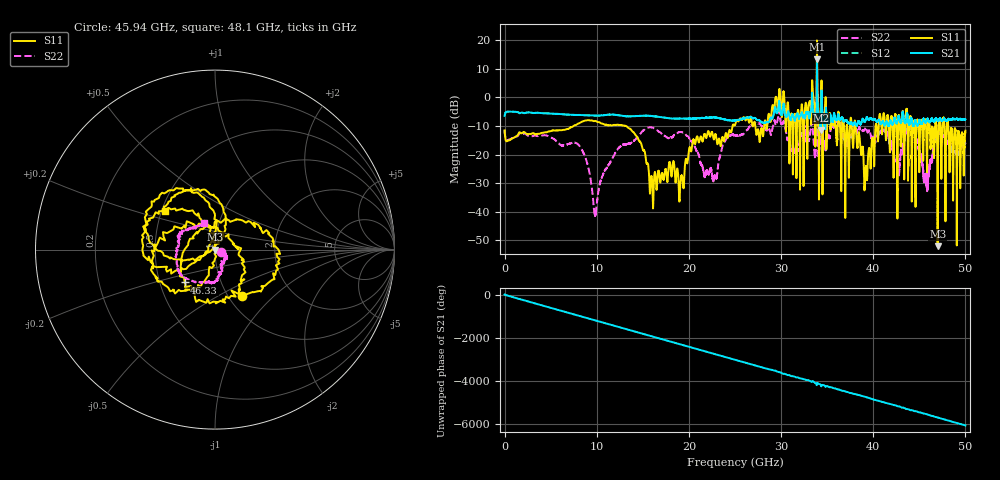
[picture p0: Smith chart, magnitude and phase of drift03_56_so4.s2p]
!Created with skrf (http://scikit-rf.org).
# Hz S RI R 50.0
!freq ReS11 ImS11 ReS21 ImS21 ReS12 ImS12 ReS22 ImS22
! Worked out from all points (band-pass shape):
!   10001 points, 300 kHz to 50 GHz, reference 50 ohm
!   highest |S21| = 13.24 dB at 33.9 GHz (marker M1); lowest = -11.4 dB at 34.32 GHz (marker M2)
!   |S21| within 3 dB of the highest: 33.88967 GHz to 33.90508 GHz (15.41 MHz wide, 0.0455 % of centre)
!   lowest |S11| = -52.0 dB at 46.99 GHz (marker M3), VSWR 1.01, Z = 50.2 + j0.0397 ohm
!   |S11| at or under -10 dB: start of sweep to 7.486 GHz; 13.13 GHz to 24.74 GHz (11.62 GHz wide, 61.4 % of centre); 38.09 GHz to 40.26 GHz (2.164 GHz wide, 5.53 % of centre) (the widest 3 of 46)
!   |S22| runs from -41.4 to 5.7 dB; largest |S21 - S12| = 0.34
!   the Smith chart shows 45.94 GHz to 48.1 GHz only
!   S11 on the Smith chart (normalised r, x): 45.94 GHz: 1.15, -0.66; 46.33 GHz: 0.67, -0.26; 48.1 GHz: 0.52, +0.26
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300000  -0.2341 -0.1216  0.4642 0.0797  0.4639 0.0809  -0.2332 -0.1276
1.440291e9  0.21 0.0648  -0.5479 -0.0297  -0.548 -0.0293  0.2114 -0.00383
2.915283e9  -0.212 -0.0879  0.5338 0.0517  0.5349 0.0515  -0.2022 0.0402
4.415274e9  0.2057 0.1323  -0.5217 -0.0419  -0.522 -0.0423  0.1985 -0.0873
8.33525e9  0.2886 -0.2329  0.1459 0.4657  0.146 0.4663  -0.0726 -0.1014
9.840241e9  -0.365 0.1253  -0.1433 -0.4537  -0.143 -0.454  0.00838 0.00224
1.115523e10  0.3172 0.0819  -0.0443 0.4908  -0.0438 0.4912  -0.0475 0.0381
1.66702e10  0.0272 0.0435  -0.3783 0.253  -0.3788 0.2532  -0.1277 -0.22
2.500015e10  -0.3259 -0.0148  -0.2538 -0.2968  -0.2532 -0.2989  -0.2143 0.028
2.895513e10  -0.3269 0.4315  -0.2893 0.3248  -0.2986 0.2901  0.0658 0.2229
3.006512e10  0.3992 0.2668  0.4507 -0.1963  0.4535 -0.1826  0.1765 -0.298
3.171011e10  -0.0931 0.1898  -0.361 0.3571  -0.3626 0.354  0.065 0.1596
3.33351e10  0.6411 -0.7878  0.2671 -0.8411  0.2651 -0.8217  -0.1849 -0.4252
3.38951e10  -2.085 -9.549  -4.549 0.6348  -4.26 0.8129  0.4315 1.876
3.432009e10  -0.779 -0.00014  -0.1801 0.1986  -0.2426 0.1783  0.143 -0.0732
3.918506e10  0.0572 0.0155  0.2133 -0.3474  0.218 -0.3409  -0.2688 -0.1295
4.167005e10  -0.203 0.3084  0.3128 0.0023  0.3148 0.0102  -0.1931 -0.00997
4.593502e10  0.1489 -0.2597  -0.357 -0.2086  -0.3566 -0.2146  0.0347 -0.0118
4.633002e10  -0.1689 -0.1831  -0.3872 0.1631  -0.3906 0.1574  0.0533 -0.052
4.699002e10  0.00248 0.000395  0.0972 0.3723  0.0966 0.3732  -0.1282 -0.1756
4.810001e10  -0.2796 0.215  0.2052 -0.3493  0.2077 -0.3537  -0.0635 0.1488
5e10  -0.1219 -0.23  0.1406 0.3848  0.1408 0.3836  -0.0527 -0.1442
